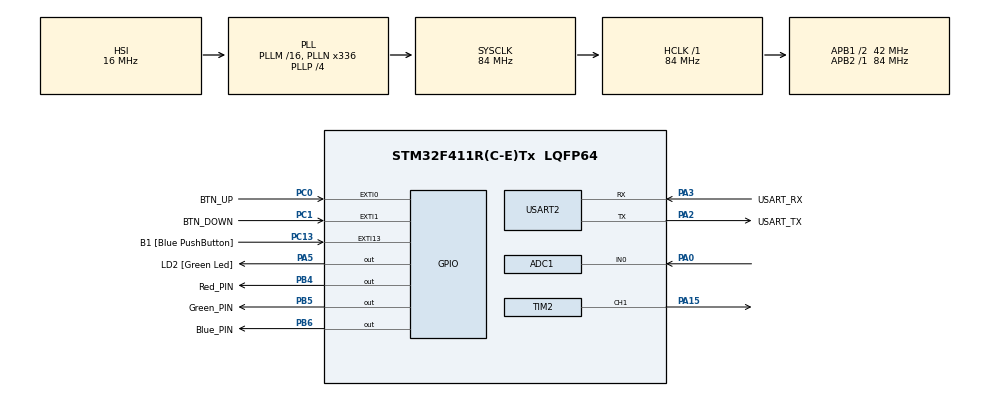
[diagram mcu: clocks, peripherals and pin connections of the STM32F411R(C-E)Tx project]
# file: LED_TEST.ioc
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ADC1.Channel-2\#ChannelRegularConversion=ADC_CHANNEL_0
ADC1.NbrOfConversionFlag=1
ADC1.Rank-2\#ChannelRegularConversion=1
ADC1.SamplingTime-2\#ChannelRegularConversion=ADC_SAMPLETIME_3CYCLES
ADC1.master=1
Mcu.Family=STM32F4
Mcu.Name=STM32F411R(C-E)Tx
Mcu.Package=LQFP64
NVIC.ADC_IRQn=true\:0\:0\:false\:false\:true\:true\:true\:true
NVIC.EXTI0_IRQn=true\:0\:0\:false\:false\:true\:true\:true\:true
NVIC.EXTI15_10_IRQn=true\:0\:0\:false\:false\:true\:true\:true\:true
NVIC.EXTI1_IRQn=true\:0\:0\:false\:false\:true\:true\:true\:true
NVIC.PriorityGroup=NVIC_PRIORITYGROUP_0
NVIC.TIM3_IRQn=true\:0\:0\:false\:false\:true\:true\:true\:true
PA0-WKUP.Signal=ADCx_IN0
PA13.GPIO_Label=TMS
PA13.Mode=Serial_Wire
PA13.Signal=SYS_JTMS-SWDIO
PA14.GPIO_Label=TCK
PA14.Mode=Serial_Wire
PA14.Signal=SYS_JTCK-SWCLK
PA15.Signal=S_TIM2_CH1_ETR
PA2.GPIO_Label=USART_TX
PA2.Mode=Asynchronous
PA2.Signal=USART2_TX
PA3.GPIO_Label=USART_RX
PA3.Mode=Asynchronous
PA3.Signal=USART2_RX
PA5.GPIO_Label=LD2 [Green Led]
PA5.Signal=GPIO_Output
PB3.GPIO_Label=SWO
PB3.Signal=SYS_JTDO-SWO
PB4.GPIO_Label=Red_PIN
PB4.Signal=GPIO_Output
PB5.GPIO_Label=Green_PIN
PB5.Signal=GPIO_Output
PB6.GPIO_Label=Blue_PIN
PB6.Signal=GPIO_Output
PC0.GPIO_Label=BTN_UP
PC0.Signal=GPXTI0
PC1.GPIO_Label=BTN_DOWN
PC1.Signal=GPXTI1
PC13-ANTI_TAMP.GPIO_Label=B1 [Blue PushButton]
PC13-ANTI_TAMP.GPIO_ModeDefaultEXTI=GPIO_MODE_IT_FALLING
PC13-ANTI_TAMP.Signal=GPXTI13
PC14-OSC32_IN.Signal=RCC_OSC32_IN
PC15-OSC32_OUT.Signal=RCC_OSC32_OUT
PH0\ -\ OSC_IN.Signal=RCC_OSC_IN
PH1\ -\ OSC_OUT.Signal=RCC_OSC_OUT
ProjectManager.HeapSize=0x200
ProjectManager.StackSize=0x400
ProjectManager.TargetToolchain=STM32CubeIDE
RCC.48MHZClocksFreq_Value=84000000
RCC.AHBFreq_Value=84000000
RCC.APB1CLKDivider=RCC_HCLK_DIV2
RCC.APB1Freq_Value=42000000
RCC.APB1TimFreq_Value=84000000
RCC.APB2Freq_Value=84000000
RCC.APB2TimFreq_Value=84000000
RCC.CortexFreq_Value=84000000
RCC.FLatency-AdvancedSettings=FLASH_LATENCY_2
RCC.HCLKFreq_Value=84000000
RCC.HSE_VALUE=8000000
RCC.HSI_VALUE=16000000
RCC.LSE_VALUE=32768
RCC.PLLN=336
RCC.PLLP=RCC_PLLP_DIV4
RCC.SYSCLKFreq_VALUE=84000000
RCC.SYSCLKSource=RCC_SYSCLKSOURCE_PLLCLK
RCC.VCOOutputFreq_Value=336000000
SH.ADCx_IN0.0=ADC1_IN0,IN0
SH.S_TIM2_CH1_ETR.0=TIM2_CH1,PWM Generation1 CH1
TIM2.AutoReloadPreload=TIM_AUTORELOAD_PRELOAD_ENABLE
TIM2.Channel-PWM\ Generation1\ CH1=TIM_CHANNEL_1
TIM2.Period=1000-1
TIM2.Prescaler=84-1
TIM3.AutoReloadPreload=TIM_AUTORELOAD_PRELOAD_ENABLE
TIM3.Channel-Output\ Compare1\ No\ Output=TIM_CHANNEL_1
TIM3.Period=10000-1
TIM3.Prescaler=8400-1
USART2.VirtualMode=VM_ASYNC
VP_TIM2_VS_ClockSourceINT.Mode=Internal
VP_TIM3_VS_ClockSourceINT.Mode=Internal
VP_TIM3_VS_no_output1.Mode=Output Compare1 No Output
board=NUCLEO-F411RE

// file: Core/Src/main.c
/* USER CODE BEGIN Header */
/**
  ******************************************************************************
  * @file           : main.c
  * @brief          : Main program body
  ******************************************************************************
  * @attention
  *
  * Copyright (c) 2025 STMicroelectronics.
  * All rights reserved.
  *
  * This software is licensed under terms that can be found in the LICENSE file
  * in the root directory of this software component.
  * If no LICENSE file comes with this software, it is provided AS-IS.
  *
  ******************************************************************************
  */
/* USER CODE END Header */
#include "main.h"

/* USER CODE BEGIN Includes */
#include <stdio.h>

/* USER CODE END Includes */

/* USER CODE BEGIN PD */
#ifdef __GNUC__
/* With GCC, small printf (option LD Linker->Libraries->Small printf
   set to 'Yes') calls __io_putchar() */
#define PUTCHAR_PROTOTYPE int __io_putchar(int ch)
#else
#define PUTCHAR_PROTOTYPE int fputc(int ch, FILE *f)
#endif /* __GNUC__ */

/* USER CODE END PD */

ADC_HandleTypeDef hadc1;

TIM_HandleTypeDef htim2;
TIM_HandleTypeDef htim3;

UART_HandleTypeDef huart2;

/* USER CODE BEGIN PV */
volatile int time3SecFlag = 0;
volatile unsigned int time3SecCnt;
volatile uint32_t light_time = 3;	//초기값 3초
//volatile uint32_t lastTick = 0;
volatile uint32_t adcValue = 0;
volatile uint32_t pwmValue = 0;
volatile uint8_t adcflag;

//volatile unsigned int time3Cnt = 0;
//volatile int time3CntFlag = 1;
/* USER CODE END PV */

void SystemClock_Config(void);
static void MX_GPIO_Init(void);
static void MX_USART2_UART_Init(void);
static void MX_TIM3_Init(void);
static void MX_TIM2_Init(void);
static void MX_ADC1_Init(void);

int main(void)
{

  /* MCU Configuration--------------------------------------------------------*/

  /* Reset of all peripherals, Initializes the Flash interface and the Systick. */
  HAL_Init();

  /* Configure the system clock */
  SystemClock_Config();

  /* Initialize all configured peripherals */
  MX_GPIO_Init();
  MX_USART2_UART_Init();
  MX_TIM3_Init();
  MX_TIM2_Init();
  MX_ADC1_Init();
  /* USER CODE BEGIN 2 */
  printf("main start()!!\r\n");
  if(HAL_TIM_Base_Start_IT(&htim3) != HAL_OK)
	  Error_Handler();

  if(HAL_TIM_PWM_Start(&htim2, TIM_CHANNEL_1) != HAL_OK)
	  Error_Handler();
  if(HAL_ADC_Start_IT(&hadc1) != HAL_OK)
	  Error_Handler();

  /* USER CODE END 2 */

  /* Infinite loop */
  /* USER CODE BEGIN WHILE */
  while (1)
  {
	  // ADC 읽기
////	  HAL_ADC_Start(&hadc1);
//	  if(HAL_ADC_PollForConversion(&hadc1, 10) == HAL_OK)
//	  {
//		  HAL_ADC_PollForConversion(&hadc1, 10);
//
//		  adcValue = HAL_ADC_GetValue(&hadc1);	// 0~4095
//		  pwmValue = (adcValue * 999) / 4095;	// 0~999 (pwm 듀티비로 변환)
//
//		  printf("ADC : %d , pwm : %d\r\n", adcValue, pwmValue);
////		  __HAL_TIM_SET_COMPARE(&htim2, TIM_CHANNEL_1, pwmValue);
//
//		  HAL_Delay(10);
//	  }
////	  HAL_ADC_Stop(&hadc1);

//		adcValue = HAL_ADC_GetValue(&hadc1);		// ADC 값 읽기
//		pwmValue = (adcValue * 999) / 4095;	// 0~999로 변환
	  if(adcflag)
	  {
	  __HAL_TIM_SET_COMPARE(&htim2, TIM_CHANNEL_1, pwmValue);
	  printf("ADC : %lu , PWM : %lu\r\n", adcValue, pwmValue);

	  adcflag =0;
	  if(HAL_ADC_Start_IT(&hadc1) != HAL_OK)
		  Error_Handler();
	  }
	  //신호등 제어
	  if(time3SecFlag)
	  {

		  //HAL_GPIO_TogglePin(LD2_GPIO_Port, LD2_Pin);
		  time3SecFlag = 0;
		  printf("time3SecCnt = %d \r\n", time3SecCnt);

		  if(time3SecCnt <= light_time)		// 초록
		  {
//			  HAL_GPIO_WritePin(GPIOB, GPIO_PIN_4, GPIO_PIN_RESET);
			  HAL_GPIO_WritePin(GPIOB, GPIO_PIN_5, GPIO_PIN_RESET);
			  HAL_GPIO_WritePin(GPIOB, GPIO_PIN_6, GPIO_PIN_SET);

			  //__HAL_TIM_SET_COMPARE(&htim2, TIM_CHANNEL_1, 0);
		  }
		  else if(time3SecCnt <= light_time*2)		// 노랑
		  {
//			  HAL_GPIO_WritePin(GPIOB, GPIO_PIN_4, GPIO_PIN_RESET);
			  HAL_GPIO_WritePin(GPIOB,GPIO_PIN_5, GPIO_PIN_SET);
			  HAL_GPIO_WritePin(GPIOB, GPIO_PIN_6, GPIO_PIN_RESET);

			  //__HAL_TIM_SET_COMPARE(&htim2, TIM_CHANNEL_1, 0);

		  }
		  else if(time3SecCnt <= light_time*3)		// 빨강
		  {
//			  HAL_GPIO_WritePin(GPIOB, GPIO_PIN_4, GPIO_PIN_SET);
			  HAL_GPIO_WritePin(GPIOB, GPIO_PIN_5, GPIO_PIN_RESET);
			  HAL_GPIO_WritePin(GPIOB, GPIO_PIN_6, GPIO_PIN_RESET);

//			  __HAL_TIM_SET_COMPARE(&htim2, TIM_CHANNEL_1, pwmValue);
			  //printf("ADC : %lu , PWM : %lu\r\n", adcValue, pwmValue);
		  }
		  else
			  time3SecCnt = 0;

#if 0
		  HAL_GPIO_WritePin(GPIOB, GPIO_PIN_4, GPIO_PIN_RESET);
		  HAL_GPIO_WritePin(GPIOB, GPIO_PIN_5, GPIO_PIN_SET);
//		  HAL_GPIO_WritePin(GPIOB, GPIO_PIN_6, GPIO_PIN_RESET);
		  if(time3SecCnt % 5 == 0)
		  {
//			  HAL_GPIO_TogglePin(GPIOB, GPIO_PIN_4);
			  //HAL_GPIO_WritePin(GPIOB, GPIO_PIN_4, GPIO_PIN_SET);
			  HAL_GPIO_WritePin(GPIOB, GPIO_PIN_5, GPIO_PIN_RESET);
//			  HAL_GPIO_WritePin(GPIOB, GPIO_PIN_6, GPIO_PIN_SET);
		  }
#endif

	  }

//	  if(time3CntFlag && (time3Cnt % 1000))	//1000ms마다
//	  {
//		  time3CntFlag = 0;
//		  HAL_GPIO_TogglePin(LD2_GPIO_Port, LD2_Pin);
//		  printf("time3Cnt : %d \r\n", time3Cnt);
//	  }
	  //buttonState = HAL_GPIO_ReadPin(GPIOC, GPIO_PIN_13);
  	  //HAL_GPIO_WritePin(GPIOA, GPIO_PIN_5, !buttonState);

    /* USER CODE END WHILE */

  }
}

void SystemClock_Config(void)
{
  RCC_OscInitTypeDef RCC_OscInitStruct = {0};
  RCC_ClkInitTypeDef RCC_ClkInitStruct = {0};

  /** Configure the main internal regulator output voltage
  */
  __HAL_RCC_PWR_CLK_ENABLE();
  __HAL_PWR_VOLTAGESCALING_CONFIG(PWR_REGULATOR_VOLTAGE_SCALE1);

  /** Initializes the RCC Oscillators according to the specified parameters
  * in the RCC_OscInitTypeDef structure.
  */
  RCC_OscInitStruct.OscillatorType = RCC_OSCILLATORTYPE_HSI;
  RCC_OscInitStruct.HSIState = RCC_HSI_ON;
  RCC_OscInitStruct.HSICalibrationValue = RCC_HSICALIBRATION_DEFAULT;
  RCC_OscInitStruct.PLL.PLLState = RCC_PLL_ON;
  RCC_OscInitStruct.PLL.PLLSource = RCC_PLLSOURCE_HSI;
  RCC_OscInitStruct.PLL.PLLM = 16;
  RCC_OscInitStruct.PLL.PLLN = 336;
  RCC_OscInitStruct.PLL.PLLP = RCC_PLLP_DIV4;
  RCC_OscInitStruct.PLL.PLLQ = 4;
  if (HAL_RCC_OscConfig(&RCC_OscInitStruct) != HAL_OK)
  {
    Error_Handler();
  }

  /** Initializes the CPU, AHB and APB buses clocks
  */
  RCC_ClkInitStruct.ClockType = RCC_CLOCKTYPE_HCLK|RCC_CLOCKTYPE_SYSCLK
                              |RCC_CLOCKTYPE_PCLK1|RCC_CLOCKTYPE_PCLK2;
  RCC_ClkInitStruct.SYSCLKSource = RCC_SYSCLKSOURCE_PLLCLK;
  RCC_ClkInitStruct.AHBCLKDivider = RCC_SYSCLK_DIV1;
  RCC_ClkInitStruct.APB1CLKDivider = RCC_HCLK_DIV2;
  RCC_ClkInitStruct.APB2CLKDivider = RCC_HCLK_DIV1;

  if (HAL_RCC_ClockConfig(&RCC_ClkInitStruct, FLASH_LATENCY_2) != HAL_OK)
  {
    Error_Handler();
  }
}

static void MX_ADC1_Init(void)
{

  ADC_ChannelConfTypeDef sConfig = {0};

  /** Configure the global features of the ADC (Clock, Resolution, Data Alignment and number of conversion)
  */
  hadc1.Instance = ADC1;
  hadc1.Init.ClockPrescaler = ADC_CLOCK_SYNC_PCLK_DIV4;
  hadc1.Init.Resolution = ADC_RESOLUTION_12B;
  hadc1.Init.ScanConvMode = DISABLE;
  hadc1.Init.ContinuousConvMode = DISABLE;
  hadc1.Init.DiscontinuousConvMode = DISABLE;
  hadc1.Init.ExternalTrigConvEdge = ADC_EXTERNALTRIGCONVEDGE_NONE;
  hadc1.Init.ExternalTrigConv = ADC_SOFTWARE_START;
  hadc1.Init.DataAlign = ADC_DATAALIGN_RIGHT;
  hadc1.Init.NbrOfConversion = 1;
  hadc1.Init.DMAContinuousRequests = DISABLE;
  hadc1.Init.EOCSelection = ADC_EOC_SINGLE_CONV;
  if (HAL_ADC_Init(&hadc1) != HAL_OK)
  {
    Error_Handler();
  }

  /** Configure for the selected ADC regular channel its corresponding rank in the sequencer and its sample time.
  */
  sConfig.Channel = ADC_CHANNEL_0;
  sConfig.Rank = 1;
  sConfig.SamplingTime = ADC_SAMPLETIME_3CYCLES;
  if (HAL_ADC_ConfigChannel(&hadc1, &sConfig) != HAL_OK)
  {
    Error_Handler();
  }

}

static void MX_TIM2_Init(void)
{

  TIM_ClockConfigTypeDef sClockSourceConfig = {0};
  TIM_MasterConfigTypeDef sMasterConfig = {0};
  TIM_OC_InitTypeDef sConfigOC = {0};

  htim2.Instance = TIM2;
  htim2.Init.Prescaler = 84-1;
  htim2.Init.CounterMode = TIM_COUNTERMODE_UP;
  htim2.Init.Period = 1000-1;
  htim2.Init.ClockDivision = TIM_CLOCKDIVISION_DIV1;
  htim2.Init.AutoReloadPreload = TIM_AUTORELOAD_PRELOAD_ENABLE;
  if (HAL_TIM_Base_Init(&htim2) != HAL_OK)
  {
    Error_Handler();
  }
  sClockSourceConfig.ClockSource = TIM_CLOCKSOURCE_INTERNAL;
  if (HAL_TIM_ConfigClockSource(&htim2, &sClockSourceConfig) != HAL_OK)
  {
    Error_Handler();
  }
  if (HAL_TIM_PWM_Init(&htim2) != HAL_OK)
  {
    Error_Handler();
  }
  sMasterConfig.MasterOutputTrigger = TIM_TRGO_RESET;
  sMasterConfig.MasterSlaveMode = TIM_MASTERSLAVEMODE_DISABLE;
  if (HAL_TIMEx_MasterConfigSynchronization(&htim2, &sMasterConfig) != HAL_OK)
  {
    Error_Handler();
  }
  sConfigOC.OCMode = TIM_OCMODE_PWM1;
  sConfigOC.Pulse = 0;
  sConfigOC.OCPolarity = TIM_OCPOLARITY_HIGH;
  sConfigOC.OCFastMode = TIM_OCFAST_DISABLE;
  if (HAL_TIM_PWM_ConfigChannel(&htim2, &sConfigOC, TIM_CHANNEL_1) != HAL_OK)
  {
    Error_Handler();
  }
  HAL_TIM_MspPostInit(&htim2);

}

static void MX_TIM3_Init(void)
{

  TIM_ClockConfigTypeDef sClockSourceConfig = {0};
  TIM_MasterConfigTypeDef sMasterConfig = {0};
  TIM_OC_InitTypeDef sConfigOC = {0};

  htim3.Instance = TIM3;
  htim3.Init.Prescaler = 8400-1;
  htim3.Init.CounterMode = TIM_COUNTERMODE_UP;
  htim3.Init.Period = 10000-1;
  htim3.Init.ClockDivision = TIM_CLOCKDIVISION_DIV1;
  htim3.Init.AutoReloadPreload = TIM_AUTORELOAD_PRELOAD_ENABLE;
  if (HAL_TIM_Base_Init(&htim3) != HAL_OK)
  {
    Error_Handler();
  }
  sClockSourceConfig.ClockSource = TIM_CLOCKSOURCE_INTERNAL;
  if (HAL_TIM_ConfigClockSource(&htim3, &sClockSourceConfig) != HAL_OK)
  {
    Error_Handler();
  }
  if (HAL_TIM_OC_Init(&htim3) != HAL_OK)
  {
    Error_Handler();
  }
  sMasterConfig.MasterOutputTrigger = TIM_TRGO_RESET;
  sMasterConfig.MasterSlaveMode = TIM_MASTERSLAVEMODE_DISABLE;
  if (HAL_TIMEx_MasterConfigSynchronization(&htim3, &sMasterConfig) != HAL_OK)
  {
    Error_Handler();
  }
  sConfigOC.OCMode = TIM_OCMODE_TIMING;
  sConfigOC.Pulse = 0;
  sConfigOC.OCPolarity = TIM_OCPOLARITY_HIGH;
  sConfigOC.OCFastMode = TIM_OCFAST_DISABLE;
  if (HAL_TIM_OC_ConfigChannel(&htim3, &sConfigOC, TIM_CHANNEL_1) != HAL_OK)
  {
    Error_Handler();
  }

}

static void MX_USART2_UART_Init(void)
{

  huart2.Instance = USART2;
  huart2.Init.BaudRate = 115200;
  huart2.Init.WordLength = UART_WORDLENGTH_8B;
  huart2.Init.StopBits = UART_STOPBITS_1;
  huart2.Init.Parity = UART_PARITY_NONE;
  huart2.Init.Mode = UART_MODE_TX_RX;
  huart2.Init.HwFlowCtl = UART_HWCONTROL_NONE;
  huart2.Init.OverSampling = UART_OVERSAMPLING_16;
  if (HAL_UART_Init(&huart2) != HAL_OK)
  {
    Error_Handler();
  }

}

static void MX_GPIO_Init(void)
{
  GPIO_InitTypeDef GPIO_InitStruct = {0};

  /* GPIO Ports Clock Enable */
  __HAL_RCC_GPIOC_CLK_ENABLE();
  __HAL_RCC_GPIOH_CLK_ENABLE();
  __HAL_RCC_GPIOA_CLK_ENABLE();
  __HAL_RCC_GPIOB_CLK_ENABLE();

  /*Configure GPIO pin Output Level */
  HAL_GPIO_WritePin(LD2_GPIO_Port, LD2_Pin, GPIO_PIN_RESET);

  /*Configure GPIO pin Output Level */
  HAL_GPIO_WritePin(GPIOB, Red_PIN_Pin|Green_PIN_Pin|Blue_PIN_Pin, GPIO_PIN_RESET);

  /*Configure GPIO pin : B1_Pin */
  GPIO_InitStruct.Pin = B1_Pin;
  GPIO_InitStruct.Mode = GPIO_MODE_IT_FALLING;
  GPIO_InitStruct.Pull = GPIO_NOPULL;
  HAL_GPIO_Init(B1_GPIO_Port, &GPIO_InitStruct);

  /*Configure GPIO pins : BTN_UP_Pin BTN_DOWN_Pin */
  GPIO_InitStruct.Pin = BTN_UP_Pin|BTN_DOWN_Pin;
  GPIO_InitStruct.Mode = GPIO_MODE_IT_RISING;
  GPIO_InitStruct.Pull = GPIO_NOPULL;
  HAL_GPIO_Init(GPIOC, &GPIO_InitStruct);

  /*Configure GPIO pin : LD2_Pin */
  GPIO_InitStruct.Pin = LD2_Pin;
  GPIO_InitStruct.Mode = GPIO_MODE_OUTPUT_PP;
  GPIO_InitStruct.Pull = GPIO_NOPULL;
  GPIO_InitStruct.Speed = GPIO_SPEED_FREQ_LOW;
  HAL_GPIO_Init(LD2_GPIO_Port, &GPIO_InitStruct);

  /*Configure GPIO pins : Red_PIN_Pin Green_PIN_Pin Blue_PIN_Pin */
  GPIO_InitStruct.Pin = Red_PIN_Pin|Green_PIN_Pin|Blue_PIN_Pin;
  GPIO_InitStruct.Mode = GPIO_MODE_OUTPUT_PP;
  GPIO_InitStruct.Pull = GPIO_NOPULL;
  GPIO_InitStruct.Speed = GPIO_SPEED_FREQ_LOW;
  HAL_GPIO_Init(GPIOB, &GPIO_InitStruct);

  /* EXTI interrupt init*/
  HAL_NVIC_SetPriority(EXTI0_IRQn, 0, 0);
  HAL_NVIC_EnableIRQ(EXTI0_IRQn);

  HAL_NVIC_SetPriority(EXTI1_IRQn, 0, 0);
  HAL_NVIC_EnableIRQ(EXTI1_IRQn);

  HAL_NVIC_SetPriority(EXTI15_10_IRQn, 0, 0);
  HAL_NVIC_EnableIRQ(EXTI15_10_IRQn);

}

/* USER CODE BEGIN 4 */
/**
  * @brief  Retargets the C library printf function to the USART.
  * @param  None
  * @retval None
  */
PUTCHAR_PROTOTYPE
{
  /* Place your implementation of fputc here */
  /* e.g. write a character to the USART6 and Loop until the end of transmission */
  HAL_UART_Transmit(&huart2, (uint8_t *)&ch, 1, 0xFFFF);

  return ch;
}

void HAL_TIM_PeriodElapsedCallback(TIM_HandleTypeDef * htim)
{
//	static unsigned long time3Cnt = 0;
//	time3Cnt++;			// 1ms
//	time3CntFlag = 1;
//	if(time3Cnt >= 1000)	//1ms * 1000 = 1sec
//	{
//		time3SecFlag = 1;
//		time3SecCnt++;
//		time3Cnt = 0;	// 1ms
//	}

	if(htim->Instance == TIM3)
	{
		time3SecCnt++;			  //1sec
		time3SecFlag = 1;
		//HAL_GPIO_TogglePin(LD2_GPIO_Port, LD2_Pin);
		printf(">>debug \r\n");
	}
}

void HAL_GPIO_EXTI_Callback(uint16_t GPIO_Pin)
{
	if(GPIO_Pin == BTN_UP_Pin)
	{
			light_time += 1;
			if(light_time > 10)	// 최대 10초
				light_time = 10;
//			printf(">>>light time UP: %lu s\r\n", light_time);

	}
	else if(GPIO_Pin == BTN_DOWN_Pin)
	{
			if(light_time <= 10 && light_time > 1)
				light_time -= 1;
//			printf(">>>light time DOWN: %lu s\r\n", light_time);

	}
}

void HAL_ADC_ConvCpltCallback(ADC_HandleTypeDef* hadc)
{
	if(hadc->Instance == ADC1)
	{
		adcValue = HAL_ADC_GetValue(hadc);		// ADC 값 읽기
		pwmValue = (adcValue * 999) / 4095;	// 0~999로 변환
		adcflag = 1;
		//printf("ADC callback!\r\n");
		//__HAL_TIM_SET_COMPARE(&htim2, TIM_CHANNEL_1, pwmValue);

		//printf("ADC : %lu , PWM : %lu\r\n", adcValue, pwmValue);

		//HAL_ADC_Start_IT(hadc);
	}
//    if(hadc->Instance == ADC1)
//    {
//        printf("ADC callback!\r\n");
//
//        HAL_ADC_Start_IT(hadc);
//    }

}
//
//void HAL_TIM_OC_DelayElapsedCallback(TIM_HandleTypeDef * htim)
//{
//	if(htim->Instance == TIM3)
//	{
//		HAL_GPIO_TogglePin(LD2_GPIO_Port, LD2_Pin);
//	}
//}

/* USER CODE END 4 */

void Error_Handler(void)
{
  __disable_irq();
  while (1)
  {
  }
}
